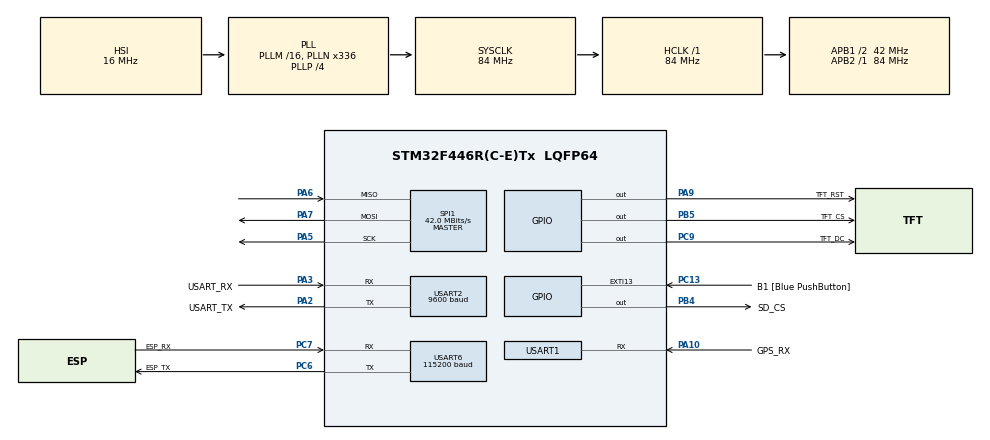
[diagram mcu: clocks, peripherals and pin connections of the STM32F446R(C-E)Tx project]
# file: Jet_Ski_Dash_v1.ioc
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Mcu.Family=STM32F4
Mcu.Name=STM32F446R(C-E)Tx
Mcu.Package=LQFP64
NVIC.PriorityGroup=NVIC_PRIORITYGROUP_0
NVIC.USART1_IRQn=true\:0\:0\:true\:false\:true\:true\:true\:true
NVIC.USART6_IRQn=true\:0\:0\:true\:false\:true\:true\:true\:true
PA13.GPIO_Label=TMS
PA13.Mode=Serial_Wire
PA13.Signal=SYS_JTMS-SWDIO
PA14.GPIO_Label=TCK
PA14.Mode=Serial_Wire
PA14.Signal=SYS_JTCK-SWCLK
PA2.GPIO_Label=USART_TX
PA2.Mode=Asynchronous
PA2.Signal=USART2_TX
PA10.GPIO_Label=GPS_RX
PA10.Mode=Asynchronous
PA10.Signal=USART1_RX
PA3.GPIO_Label=USART_RX
PA3.Mode=Asynchronous
PA3.Signal=USART2_RX
PA5.Mode=Full_Duplex_Master
PA5.Signal=SPI1_SCK
PA6.Mode=Full_Duplex_Master
PA6.Signal=SPI1_MISO
PA7.Mode=Full_Duplex_Master
PA7.Signal=SPI1_MOSI
PA9.GPIO_Label=TFT_RST
PA9.Signal=GPIO_Output
PB3.GPIO_Label=SWO
PB3.Signal=SYS_JTDO-SWO
PB4.GPIO_Label=SD_CS
PB4.Signal=GPIO_Output
PB5.GPIO_Label=TFT_CS
PB5.Signal=GPIO_Output
PC13.GPIO_Label=B1 [Blue PushButton]
PC13.GPIO_ModeDefaultEXTI=GPIO_MODE_IT_FALLING
PC13.Signal=GPXTI13
PC14-OSC32_IN.Mode=LSE-External-Oscillator
PC14-OSC32_IN.Signal=RCC_OSC32_IN
PC15-OSC32_OUT.Mode=LSE-External-Oscillator
PC15-OSC32_OUT.Signal=RCC_OSC32_OUT
PC6.GPIO_Label=ESP_TX
PC6.Mode=Asynchronous
PC6.Signal=USART6_TX
PC7.GPIO_Label=ESP_RX
PC7.Mode=Asynchronous
PC7.Signal=USART6_RX
PC9.GPIO_Label=TFT_DC
PC9.Signal=GPIO_Output
PH0-OSC_IN.Mode=HSE-External-Oscillator
PH0-OSC_IN.Signal=RCC_OSC_IN
PH1-OSC_OUT.Mode=HSE-External-Oscillator
PH1-OSC_OUT.Signal=RCC_OSC_OUT
ProjectManager.HeapSize=0x200
ProjectManager.StackSize=0x400
ProjectManager.TargetToolchain=STM32CubeIDE
RCC.48MHZClocksFreq_Value=84000000
RCC.AHBFreq_Value=84000000
RCC.APB1CLKDivider=RCC_HCLK_DIV2
RCC.APB1Freq_Value=42000000
RCC.APB1TimFreq_Value=84000000
RCC.APB2Freq_Value=84000000
RCC.APB2TimFreq_Value=84000000
RCC.CortexFreq_Value=84000000
RCC.FLatency-AdvancedSettings=FLASH_LATENCY_2
RCC.HCLKFreq_Value=84000000
RCC.HSE_VALUE=8000000
RCC.HSI_VALUE=16000000
RCC.PLLN=336
RCC.PLLP=RCC_PLLP_DIV4
RCC.SYSCLKFreq_VALUE=84000000
RCC.SYSCLKSource=RCC_SYSCLKSOURCE_PLLCLK
RCC.USBFreq_Value=168000000
RCC.VCOOutputFreq_Value=336000000
SPI1.BaudRatePrescaler=SPI_BAUDRATEPRESCALER_2
SPI1.CalculateBaudRate=42.0 MBits/s
SPI1.Direction=SPI_DIRECTION_2LINES
SPI1.Mode=SPI_MODE_MASTER
SPI1.VirtualType=VM_MASTER
USART1.BaudRate=9600
USART1.VirtualMode=VM_ASYNC
USART2.BaudRate=9600
USART2.VirtualMode=VM_ASYNC
USART6.BaudRate=115200
USART6.VirtualMode=VM_ASYNC
board=NUCLEO-F446RE

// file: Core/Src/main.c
/* USER CODE BEGIN Header */
/**
  ******************************************************************************
  * @file           : main.c
  * @brief          : Main program body
  ******************************************************************************
  * @attention
  *
  * Copyright (c) 2026 STMicroelectronics.
  * All rights reserved.
  *
  * This software is licensed under terms that can be found in the LICENSE file
  * in the root directory of this software component.
  * If no LICENSE file comes with this software, it is provided AS-IS.
  *
  ******************************************************************************
  */
/* USER CODE END Header */
#include "main.h"

/* USER CODE BEGIN Includes */
#include "dash_ui.h"
#include "esp_link.h"
#include "gps.h"
#include "sd_card.h"
#include "splash_image.h"
#include "st7796.h"

/* USER CODE END Includes */

/* USER CODE BEGIN PD */
/*
 * GPS receive debug:
 * 1U = while there is no valid RMC speed, show rx_byte_count % 200 on the big MPH digits.
 * This proves USART2 RX bytes are reaching the firmware before the NMEA parser matters.
 * Set back to 0U after the wiring/baud/IRQ path is confirmed.
 * Now that GPS is working, this can become 0U when you want a quiet boot screen.
 */
#define GPS_DEBUG_SHOW_RX_COUNT_AS_SPEED 0U

/*
 * Raw D2/PA10 edge test:
 * 1U = configure Arduino D2 / PA10 as a plain GPIO input and count pin transitions.
 * This bypasses USART2, baud rate, and the NMEA parser so we can prove whether the
 * GPS TX wire is electrically changing at the MCU pin.
 * Normal GPS mode keeps this at 0U and uses USART1_RX on the same PA10 pin.
 */
#define GPS_DEBUG_RAW_PA3_EDGE_TEST 0U
#define GPS_DEBUG_RX_Pin GPIO_PIN_10
#define GPS_DEBUG_RX_GPIO_Port GPIOA
#define GPS_DEBUG_RX_EXTI_IRQn EXTI15_10_IRQn

/* USER CODE END PD */

SPI_HandleTypeDef hspi1;

UART_HandleTypeDef huart2;
UART_HandleTypeDef huart1;
UART_HandleTypeDef huart6;

/* USER CODE BEGIN PV */
GPS_Data_t gps_data;
static uint32_t sd_last_poll_ms = 0U;
static uint8_t sd_card_ready = 0U;
static uint8_t custom_mode_enabled = 0U;
static GPIO_PinState button_last_state = GPIO_PIN_SET;
static uint32_t button_last_change_ms = 0U;
#if (GPS_DEBUG_RAW_PA3_EDGE_TEST != 0U)
static uint32_t gps_raw_pa3_edge_count = 0U;
static GPIO_PinState gps_raw_pa3_last_state = GPIO_PIN_RESET;
#endif

/* USER CODE END PV */

void SystemClock_Config(void);
static void MX_GPIO_Init(void);
static void MX_USART1_UART_Init(void);
static void MX_USART2_UART_Init(void);
static void MX_USART6_UART_Init(void);
static void MX_SPI1_Init(void);

/* USER CODE BEGIN 0 */
static void DashboardButtonTask(void)
{
  GPIO_PinState state = HAL_GPIO_ReadPin(B1_GPIO_Port, B1_Pin);
  uint32_t now = HAL_GetTick();

  if (state != button_last_state)
  {
    if ((now - button_last_change_ms) >= 40U)
    {
      button_last_state = state;
      button_last_change_ms = now;
      if (state == GPIO_PIN_RESET)
      {
        custom_mode_enabled = (uint8_t)((custom_mode_enabled + 1U) % 3U);
        DashUI_SetCustomMode(custom_mode_enabled);
      }
    }
  }
  else
  {
    button_last_change_ms = now;
  }
}

#if (GPS_DEBUG_RAW_PA3_EDGE_TEST != 0U)
static void GPS_DebugRawPa3Init(void)
{
  GPIO_InitTypeDef GPIO_InitStruct = {0};

  /*
   * D0/PA3 is tied to USART2 and the Nucleo ST-LINK virtual COM path. D2/PA10
   * gives this raw signal test a quieter input pin that should not be held high
   * by the debugger side of the board.
   */
  HAL_GPIO_DeInit(GPS_DEBUG_RX_GPIO_Port, GPS_DEBUG_RX_Pin);

  GPIO_InitStruct.Pin = GPS_DEBUG_RX_Pin;
  GPIO_InitStruct.Mode = GPIO_MODE_IT_RISING_FALLING;
  GPIO_InitStruct.Pull = GPIO_PULLDOWN;
  HAL_GPIO_Init(GPS_DEBUG_RX_GPIO_Port, &GPIO_InitStruct);

  gps_raw_pa3_last_state = HAL_GPIO_ReadPin(GPS_DEBUG_RX_GPIO_Port, GPS_DEBUG_RX_Pin);
  gps_raw_pa3_edge_count = 0U;

  /*
   * EXTI15_10 handles external interrupt lines 10 through 15. PA10 changes now
   * call HAL_GPIO_EXTI_Callback(), independent of UART baud.
   */
  HAL_NVIC_SetPriority(GPS_DEBUG_RX_EXTI_IRQn, 1, 0);
  HAL_NVIC_EnableIRQ(GPS_DEBUG_RX_EXTI_IRQn);
}
#endif

/* USER CODE END 0 */

int main(void)
{

  /* MCU Configuration--------------------------------------------------------*/

  /* Reset of all peripherals, Initializes the Flash interface and the Systick. */
  HAL_Init();

  /* Configure the system clock */
  SystemClock_Config();

  /* Initialize all configured peripherals */
  MX_GPIO_Init();
  /*
   * GPS is on USART1_RX / PA10 / Arduino D2. We moved away from USART2_RX / PA3
   * because PA3 is tied to the Nucleo ST-LINK virtual COM path and was held high.
   */
  MX_USART1_UART_Init();
  MX_USART2_UART_Init();
  MX_USART6_UART_Init();
  MX_SPI1_Init();
  /* USER CODE BEGIN 2 */
  /* Bring up the TFT first, then draw the static dashboard shell. */
  ST7796_Init();
  SplashImage_DrawSelected();
  HAL_Delay(1800U);
  DashUI_Init();
  DashUI_UpdateSpeed(0U);
  sd_card_ready = SDCard_Init(&hspi1);
  DashUI_UpdateSdStatus(sd_card_ready);
  ESP_LinkInit(&huart6);
  DashUI_UpdateEspStatus(0U);
  button_last_state = HAL_GPIO_ReadPin(B1_GPIO_Port, B1_Pin);
  button_last_change_ms = HAL_GetTick();
  sd_last_poll_ms = HAL_GetTick();
#if (GPS_DEBUG_RAW_PA3_EDGE_TEST != 0U)
  GPS_DebugRawPa3Init();
#else
  /*
   * Try to put the GPS into a faster 10 Hz update mode before starting RX.
   * Command path wiring required for this:
   *   Nucleo PA2 / Arduino D1 / USART2_TX -> GPS RX
   *
   * GPS data still comes back on:
   *   GPS TX -> PA10 / Arduino D2 / USART1_RX
   */
  GPS_SendStartupConfig(&huart2);
  GPS_Init(&huart1);
#endif

  /* USER CODE END 2 */

  /* Infinite loop */
  while (1)
  {

    /* USER CODE BEGIN 3 */
#if (GPS_DEBUG_RAW_PA3_EDGE_TEST != 0U)
    DashUI_UpdateGpsStatus((gps_raw_pa3_last_state == GPIO_PIN_SET) ? 1U : 0U,
                           (gps_raw_pa3_last_state == GPIO_PIN_RESET) ? 1U : 0U,
                           (gps_raw_pa3_edge_count > 0U) ? 1U : 0U);
    DashUI_UpdateSpeed((uint16_t)(gps_raw_pa3_edge_count % 200U));
#else
    GPS_Task();
    ESP_LinkTask();
    ESP_LinkData_t esp_data = ESP_LinkGetData();
    DashboardButtonTask();
    gps_data = GPS_GetData();
    if ((HAL_GetTick() - sd_last_poll_ms) >= 2000U)
    {
      sd_card_ready = SDCard_Poll();
      DashUI_UpdateSdStatus(sd_card_ready);
      sd_last_poll_ms = HAL_GetTick();
    }
    DashUI_UpdateEspStatus(ESP_LinkIsOnline());
    DashUI_UpdateWifiCount(esp_data.network_count);
    DashUI_UpdateWardriveStats(esp_data.scan_id, esp_data.line_count);
    DashUI_UpdateWardriveGps(gps_data.position_valid,
                             gps_data.latitude_e7,
                             gps_data.longitude_e7,
                             gps_data.altitude_valid,
                             gps_data.altitude_m,
                             gps_data.satellite_count);
    DashUI_UpdateSatelliteMode(gps_data.fix_type,
                               gps_data.satellite_count,
                               gps_data.satellites_in_view,
                               gps_data.hdop_x100,
                               gps_data.pdop_x100,
                               gps_data.vdop_x100,
                               gps_data.strongest_snr);
    DashUI_UpdateGpsStatus((gps_data.rx_byte_count > 0U) ? 1U : 0U,
                           (gps_data.line_count > 0U) ? 1U : 0U,
                           gps_data.has_fix);
    DashUI_UpdateHeading(gps_data.heading_valid, gps_data.heading_deg);
    if (gps_data.speed_valid != 0U)
    {
      DashUI_UpdateSpeed(gps_data.speed_mph);
    }
#if (GPS_DEBUG_SHOW_RX_COUNT_AS_SPEED == 0U)
    else
    {
      DashUI_ShowNoGps();
    }
#endif
#if (GPS_DEBUG_SHOW_RX_COUNT_AS_SPEED != 0U)
    else
    {
      DashUI_UpdateSpeed((uint16_t)(gps_data.rx_byte_count % 200U));

    }
#endif
    HAL_Delay(5);
#endif
  }
  /* USER CODE END 3 */
}

void SystemClock_Config(void)
{
  RCC_OscInitTypeDef RCC_OscInitStruct = {0};
  RCC_ClkInitTypeDef RCC_ClkInitStruct = {0};

  /** Configure the main internal regulator output voltage
  */
  __HAL_RCC_PWR_CLK_ENABLE();
  __HAL_PWR_VOLTAGESCALING_CONFIG(PWR_REGULATOR_VOLTAGE_SCALE3);

  /** Initializes the RCC Oscillators according to the specified parameters
  * in the RCC_OscInitTypeDef structure.
  */
  RCC_OscInitStruct.OscillatorType = RCC_OSCILLATORTYPE_HSI;
  RCC_OscInitStruct.HSIState = RCC_HSI_ON;
  RCC_OscInitStruct.HSICalibrationValue = RCC_HSICALIBRATION_DEFAULT;
  RCC_OscInitStruct.PLL.PLLState = RCC_PLL_ON;
  RCC_OscInitStruct.PLL.PLLSource = RCC_PLLSOURCE_HSI;
  RCC_OscInitStruct.PLL.PLLM = 16;
  RCC_OscInitStruct.PLL.PLLN = 336;
  RCC_OscInitStruct.PLL.PLLP = RCC_PLLP_DIV4;
  RCC_OscInitStruct.PLL.PLLQ = 2;
  RCC_OscInitStruct.PLL.PLLR = 2;
  if (HAL_RCC_OscConfig(&RCC_OscInitStruct) != HAL_OK)
  {
    Error_Handler();
  }

  /** Initializes the CPU, AHB and APB buses clocks
  */
  RCC_ClkInitStruct.ClockType = RCC_CLOCKTYPE_HCLK|RCC_CLOCKTYPE_SYSCLK
                              |RCC_CLOCKTYPE_PCLK1|RCC_CLOCKTYPE_PCLK2;
  RCC_ClkInitStruct.SYSCLKSource = RCC_SYSCLKSOURCE_PLLCLK;
  RCC_ClkInitStruct.AHBCLKDivider = RCC_SYSCLK_DIV1;
  RCC_ClkInitStruct.APB1CLKDivider = RCC_HCLK_DIV2;
  RCC_ClkInitStruct.APB2CLKDivider = RCC_HCLK_DIV1;

  if (HAL_RCC_ClockConfig(&RCC_ClkInitStruct, FLASH_LATENCY_2) != HAL_OK)
  {
    Error_Handler();
  }
}

static void MX_SPI1_Init(void)
{

  /* SPI1 parameter configuration*/
  hspi1.Instance = SPI1;
  hspi1.Init.Mode = SPI_MODE_MASTER;
  hspi1.Init.Direction = SPI_DIRECTION_2LINES;
  hspi1.Init.DataSize = SPI_DATASIZE_8BIT;
  hspi1.Init.CLKPolarity = SPI_POLARITY_LOW;
  hspi1.Init.CLKPhase = SPI_PHASE_1EDGE;
  hspi1.Init.NSS = SPI_NSS_SOFT;
  hspi1.Init.BaudRatePrescaler = SPI_BAUDRATEPRESCALER_2;
  hspi1.Init.FirstBit = SPI_FIRSTBIT_MSB;
  hspi1.Init.TIMode = SPI_TIMODE_DISABLE;
  hspi1.Init.CRCCalculation = SPI_CRCCALCULATION_DISABLE;
  hspi1.Init.CRCPolynomial = 10;
  if (HAL_SPI_Init(&hspi1) != HAL_OK)
  {
    Error_Handler();
  }

}

static void MX_USART1_UART_Init(void)
{

  huart1.Instance = USART1;
  /*
   * ATGM336H modules commonly output NMEA at 9600 baud, 8 data bits, no parity,
   * 1 stop bit. UART_MODE_RX is enough because we only listen to GPS TX for now.
   */
  huart1.Init.BaudRate = 9600;
  huart1.Init.WordLength = UART_WORDLENGTH_8B;
  huart1.Init.StopBits = UART_STOPBITS_1;
  huart1.Init.Parity = UART_PARITY_NONE;
  huart1.Init.Mode = UART_MODE_RX;
  huart1.Init.HwFlowCtl = UART_HWCONTROL_NONE;
  huart1.Init.OverSampling = UART_OVERSAMPLING_16;
  if (HAL_UART_Init(&huart1) != HAL_OK)
  {
    Error_Handler();
  }

}

static void MX_USART2_UART_Init(void)
{

  huart2.Instance = USART2;
  huart2.Init.BaudRate = 9600;
  huart2.Init.WordLength = UART_WORDLENGTH_8B;
  huart2.Init.StopBits = UART_STOPBITS_1;
  huart2.Init.Parity = UART_PARITY_NONE;
  huart2.Init.Mode = UART_MODE_TX_RX;
  huart2.Init.HwFlowCtl = UART_HWCONTROL_NONE;
  huart2.Init.OverSampling = UART_OVERSAMPLING_16;
  if (HAL_UART_Init(&huart2) != HAL_OK)
  {
    Error_Handler();
  }

}

static void MX_USART6_UART_Init(void)
{
  huart6.Instance = USART6;
  huart6.Init.BaudRate = 115200;
  huart6.Init.WordLength = UART_WORDLENGTH_8B;
  huart6.Init.StopBits = UART_STOPBITS_1;
  huart6.Init.Parity = UART_PARITY_NONE;
  huart6.Init.Mode = UART_MODE_TX_RX;
  huart6.Init.HwFlowCtl = UART_HWCONTROL_NONE;
  huart6.Init.OverSampling = UART_OVERSAMPLING_16;
  if (HAL_UART_Init(&huart6) != HAL_OK)
  {
    Error_Handler();
  }
}

static void MX_GPIO_Init(void)
{
  GPIO_InitTypeDef GPIO_InitStruct = {0};

  /* GPIO Ports Clock Enable */
  __HAL_RCC_GPIOC_CLK_ENABLE();
  __HAL_RCC_GPIOH_CLK_ENABLE();
  __HAL_RCC_GPIOA_CLK_ENABLE();
  __HAL_RCC_GPIOB_CLK_ENABLE();

  /*Configure GPIO pin Output Level */
  HAL_GPIO_WritePin(TFT_DC_GPIO_Port, TFT_DC_Pin, GPIO_PIN_RESET);

  /*Configure GPIO pin Output Level */
  HAL_GPIO_WritePin(TFT_RST_GPIO_Port, TFT_RST_Pin, GPIO_PIN_RESET);

  /*Configure GPIO pin Output Level */
  HAL_GPIO_WritePin(TFT_CS_GPIO_Port, TFT_CS_Pin, GPIO_PIN_RESET);

  /* Keep the SD card deselected while the display owns the shared SPI bus. */
  HAL_GPIO_WritePin(SD_CS_GPIO_Port, SD_CS_Pin, GPIO_PIN_SET);

  /*Configure GPIO pin : B1_Pin */
  GPIO_InitStruct.Pin = B1_Pin;
  GPIO_InitStruct.Mode = GPIO_MODE_IT_FALLING;
  GPIO_InitStruct.Pull = GPIO_NOPULL;
  HAL_GPIO_Init(B1_GPIO_Port, &GPIO_InitStruct);

  /*Configure GPIO pin : TFT_DC_Pin */
  GPIO_InitStruct.Pin = TFT_DC_Pin;
  GPIO_InitStruct.Mode = GPIO_MODE_OUTPUT_PP;
  GPIO_InitStruct.Pull = GPIO_NOPULL;
  GPIO_InitStruct.Speed = GPIO_SPEED_FREQ_LOW;
  HAL_GPIO_Init(TFT_DC_GPIO_Port, &GPIO_InitStruct);

  /*Configure GPIO pin : TFT_RST_Pin */
  GPIO_InitStruct.Pin = TFT_RST_Pin;
  GPIO_InitStruct.Mode = GPIO_MODE_OUTPUT_PP;
  GPIO_InitStruct.Pull = GPIO_NOPULL;
  GPIO_InitStruct.Speed = GPIO_SPEED_FREQ_LOW;
  HAL_GPIO_Init(TFT_RST_GPIO_Port, &GPIO_InitStruct);

  /*Configure GPIO pin : TFT_CS_Pin */
  GPIO_InitStruct.Pin = TFT_CS_Pin;
  GPIO_InitStruct.Mode = GPIO_MODE_OUTPUT_PP;
  GPIO_InitStruct.Pull = GPIO_NOPULL;
  GPIO_InitStruct.Speed = GPIO_SPEED_FREQ_LOW;
  HAL_GPIO_Init(TFT_CS_GPIO_Port, &GPIO_InitStruct);

  /*Configure GPIO pin : SD_CS_Pin */
  GPIO_InitStruct.Pin = SD_CS_Pin;
  GPIO_InitStruct.Mode = GPIO_MODE_OUTPUT_PP;
  GPIO_InitStruct.Pull = GPIO_NOPULL;
  GPIO_InitStruct.Speed = GPIO_SPEED_FREQ_LOW;
  HAL_GPIO_Init(SD_CS_GPIO_Port, &GPIO_InitStruct);

}

/* USER CODE BEGIN 4 */
#if (GPS_DEBUG_RAW_PA3_EDGE_TEST != 0U)
void HAL_GPIO_EXTI_Callback(uint16_t GPIO_Pin)
{
  if (GPIO_Pin == GPS_DEBUG_RX_Pin)
  {
    gps_raw_pa3_last_state = HAL_GPIO_ReadPin(GPS_DEBUG_RX_GPIO_Port, GPS_DEBUG_RX_Pin);
    gps_raw_pa3_edge_count++;
  }
}
#endif

/* USER CODE END 4 */

void Error_Handler(void)
{
  __disable_irq();
  while (1)
  {
  }
}
